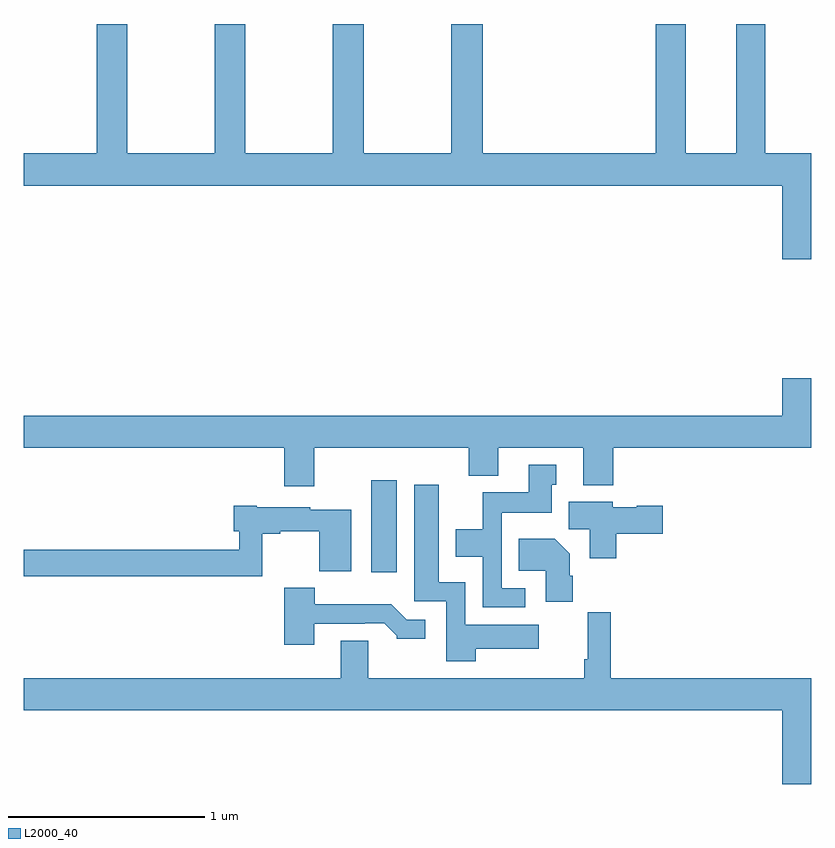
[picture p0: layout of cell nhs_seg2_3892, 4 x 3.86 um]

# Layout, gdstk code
import gdstk
lib = gdstk.Library(unit=1e-6, precision=1e-09)
def R(c, l, rs):  # rectangles x0, y0, x1, y1
    for r in rs: c.add(gdstk.rectangle(r[:2], r[2:], *l))
def P(c, l, *ps):  # polygons
    for p in ps: c.add(gdstk.Polygon(p, *l))
L2000_40 = (2000, 40)

nhs_seg2_3892 = lib.new_cell('nhs_seg2_3892')
R(nhs_seg2_3892, L2000_40, [(318.764,635.016,318.895,635.485)])
P(nhs_seg2_3892, L2000_40, [(321,637.144),(320.766,637.144),(320.766,637.8),(320.618,637.8),(320.618,637.144),(320.362,637.144),(320.362,637.8),(320.21,637.8),(320.21,637.144),(319.331,637.144),(319.331,637.8),(319.171,637.8),(319.171,637.144),(318.726,637.144),(318.726,637.8),(318.571,637.8),(318.571,637.144),(318.126,637.144),(318.126,637.8),(317.971,637.8),(317.971,637.144),(317.526,637.144),(317.526,637.8),(317.371,637.8),(317.371,637.144),(317,637.144),(317,636.98),(320.852,636.98),(320.852,636.606),(321,636.606)],
  [(318.475,635.648),(319.259,635.648),(319.259,635.507),(319.411,635.507),(319.411,635.648),(319.841,635.648),(319.841,635.459),(319.994,635.459),(319.994,635.648),(321,635.648),(321,636.001),(320.852,636.001),(320.852,635.812),(317,635.812),(317,635.648),(318.323,635.648),(318.323,635.454),(318.475,635.454)],
  [(319.546,634.935),(319.428,634.935),(319.428,635.318),(319.681,635.318),(319.681,635.46),(319.705,635.46),(319.705,635.563),(319.565,635.563),(319.565,635.422),(319.33,635.422),(319.33,635.236),(319.193,635.236),(319.193,635.096),(319.332,635.096),(319.332,634.839),(319.546,634.839)],
  [(319.295,634.628),(319.615,634.628),(319.615,634.75),(319.242,634.75),(319.242,634.966),(319.108,634.966),(319.108,635.461),(318.983,635.461),(318.983,634.869),(319.146,634.869),(319.146,634.566),(319.295,634.566)],
  [(320.009,635.213),(320.245,635.213),(320.245,635.355),(320.112,635.355),(320.112,635.347),(319.992,635.347),(319.992,635.374),(319.769,635.374),(319.769,635.236),(319.874,635.236),(319.874,635.088),(320.009,635.088)],
  [(318.212,635.213),(318.304,635.213),(318.304,635.225),(318.502,635.225),(318.502,635.021),(318.664,635.021),(318.664,635.335),(318.456,635.335),(318.456,635.347),(318.184,635.347),(318.184,635.355),(318.068,635.355),(318.068,635.225),(318.095,635.225),(318.095,635.132),(317,635.132),(317,634.996),(318.212,634.996)],
  [(319.787,635),(319.774,635),(319.774,635.11),(319.696,635.188),(319.513,635.188),(319.513,635.024),(319.652,635.024),(319.652,634.866),(319.787,634.866)],
  [(318.475,634.755),(318.731,634.755),(318.731,634.758),(318.83,634.758),(318.894,634.694),(318.894,634.679),(319.039,634.679),(319.039,634.776),(318.945,634.776),(318.867,634.855),(318.478,634.855),(318.478,634.939),(318.323,634.939),(318.323,634.65),(318.475,634.65)],
  [(321,634.48),(319.982,634.48),(319.982,634.813),(319.864,634.813),(319.864,634.576),(319.846,634.576),(319.846,634.48),(318.751,634.48),(318.751,634.67),(318.611,634.67),(318.611,634.48),(317,634.48),(317,634.316),(320.852,634.316),(320.852,633.942),(321,633.942)])

lib.write_gds('nhs_seg2_3892.gds')
